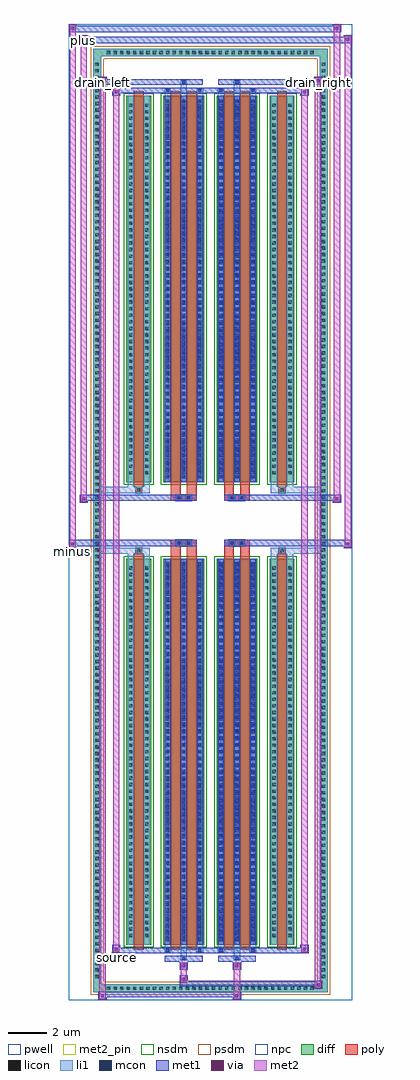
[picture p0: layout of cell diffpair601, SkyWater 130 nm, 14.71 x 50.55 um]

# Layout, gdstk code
import gdstk
lib = gdstk.Library(unit=1e-6, precision=5e-09)
def R(c, l, rs):  # rectangles x0, y0, x1, y1
    for r in rs: c.add(gdstk.rectangle(r[:2], r[2:], *l))
def A(c, l, x, y, w, h, nx, ny, dx, dy):  # array of equal rectangles
    R(c, l, [(x+i*dx, y+j*dy, x+i*dx+w, y+j*dy+h) for i in range(nx) for j in range(ny)])
def P(c, l, *ps):  # polygons
    for p in ps: c.add(gdstk.Polygon(p, *l))
pwell = (64, 44)
diff = (65, 20)
poly = (66, 20)
licon = (66, 44)
li1 = (67, 20)
mcon = (67, 44)
met1 = (68, 20)
via = (68, 44)
met2_pin = (69, 16)
met2 = (69, 20)
nsdm = (93, 44)
psdm = (94, 20)
npc = (95, 20)

diffpair601 = lib.new_cell('diffpair601')
R(diffpair601, pwell, [(-7.34,-24.84,7.34,25.71), (-4.66,-23.03,-0.01,-0.805), (0.01,-23.03,4.66,-0.805), (-4.66,0.805,-0.01,23.03), (0.01,0.805,4.66,23.03)])
A(diffpair601, diff, -5.475, -24.44, 0.41, 0.41, 32, 2, 0.34, 48.47)
A(diffpair601, diff, -6.07, -23.835, 0.41, 0.41, 1, 140, 0, 0.34)
A(diffpair601, diff, 5.66, -23.835, 0.41, 0.41, 1, 140, 0, 0.34)
R(diffpair601, diff, [(-5.475,-24.44,5.475,-24.03), (-6.07,-23.835,-5.66,23.835), (5.66,-23.835,6.07,23.835), (-4.35,-21.985,-3.07,-1.985), (-2.43,-21.985,-0.32,-1.985), (0.32,-21.985,2.43,-1.985), (3.07,-21.985,4.35,-1.985), (-4.35,1.985,-3.07,21.985), (-2.43,1.985,-0.32,21.985), (0.32,1.985,2.43,21.985), (3.07,1.985,4.35,21.985), (-5.475,24.03,5.475,24.44)])
P(diffpair601, diff, [(6.07,24.44),(-6.07,24.44),(-6.07,-24.03),(-5.66,-24.03),(-5.66,24.03),(5.66,24.03),(5.66,-24.03),(-5.66,-24.03),(-6.07,-24.03),(-6.07,-24.44),(6.07,-24.44)])
R(diffpair601, poly, [(-3.96,-22.235,-3.46,-1.735), (-2.04,-22.235,-1.54,-1.735), (-1.21,-22.235,-0.71,-1.735), (0.71,-22.235,1.21,-1.735), (1.54,-22.235,2.04,-1.735), (3.46,-22.235,3.96,-1.735), (-3.875,-1.735,-3.545,-1.405), (-3.875,-1.735,-3.545,-1.405), (-2.04,-1.735,-1.54,-1.335), (-1.21,-1.735,-0.71,-1.335), (0.71,-1.735,1.21,-1.335), (1.54,-1.735,2.04,-1.335), (3.545,-1.735,3.875,-1.405), (3.545,-1.735,3.875,-1.405), (-2.04,-1.335,-0.71,-1.005), (-1.79,-1.335,-1.46,-1.005), (-1.29,-1.335,-0.96,-1.005), (0.71,-1.335,2.04,-1.005), (0.96,-1.335,1.29,-1.005), (1.46,-1.335,1.79,-1.005), (-2.04,1.005,-0.71,1.335), (-1.79,1.005,-1.46,1.335), (-1.29,1.005,-0.96,1.335), (0.71,1.005,2.04,1.335), (0.96,1.005,1.29,1.335), (1.46,1.005,1.79,1.335), (-2.04,1.335,-1.54,1.735), (-1.21,1.335,-0.71,1.735), (0.71,1.335,1.21,1.735), (1.54,1.335,2.04,1.735), (-3.875,1.405,-3.545,1.735), (-3.875,1.405,-3.545,1.735), (3.545,1.405,3.875,1.735), (3.545,1.405,3.875,1.735), (-3.96,1.735,-3.46,22.235), (-2.04,1.735,-1.54,22.235), (-1.21,1.735,-0.71,22.235), (0.71,1.735,1.21,22.235), (1.54,1.735,2.04,22.235), (3.46,1.735,3.96,22.235)])
A(diffpair601, licon, -5.355, -24.32, 0.17, 0.17, 32, 2, 0.34, 48.47)
A(diffpair601, licon, -5.95, -23.715, 0.17, 0.17, 1, 140, 0, 0.34)
A(diffpair601, licon, 5.78, -23.715, 0.17, 0.17, 1, 140, 0, 0.34)
A(diffpair601, licon, -4.21, -21.59, 0.17, 0.17, 1, 57, 0, 0.34)
A(diffpair601, licon, -3.38, -21.59, 0.17, 0.17, 1, 57, 0, 0.34)
A(diffpair601, licon, -2.29, -21.59, 0.17, 0.17, 3, 57, 0.83, 0.34)
A(diffpair601, licon, 0.46, -21.59, 0.17, 0.17, 3, 57, 0.83, 0.34)
A(diffpair601, licon, 3.21, -21.59, 0.17, 0.17, 1, 57, 0, 0.34)
A(diffpair601, licon, 4.04, -21.59, 0.17, 0.17, 1, 57, 0, 0.34)
A(diffpair601, licon, -4.21, 2.38, 0.17, 0.17, 1, 57, 0, 0.34)
A(diffpair601, licon, -3.38, 2.38, 0.17, 0.17, 1, 57, 0, 0.34)
A(diffpair601, licon, -2.29, 2.38, 0.17, 0.17, 3, 57, 0.83, 0.34)
A(diffpair601, licon, 0.46, 2.38, 0.17, 0.17, 3, 57, 0.83, 0.34)
A(diffpair601, licon, 3.21, 2.38, 0.17, 0.17, 1, 57, 0, 0.34)
A(diffpair601, licon, 4.04, 2.38, 0.17, 0.17, 1, 57, 0, 0.34)
R(diffpair601, licon, [(-3.795,-1.655,-3.625,-1.485), (3.625,-1.655,3.795,-1.485), (-1.71,-1.255,-1.54,-1.085), (-1.21,-1.255,-1.04,-1.085), (1.04,-1.255,1.21,-1.085), (1.54,-1.255,1.71,-1.085), (-1.71,1.085,-1.54,1.255), (-1.21,1.085,-1.04,1.255), (1.04,1.085,1.21,1.255), (1.54,1.085,1.71,1.255), (-3.795,1.485,-3.625,1.655), (3.625,1.485,3.795,1.655)])
A(diffpair601, li1, -5.435, -24.4, 0.33, 0.33, 32, 2, 0.34, 48.47)
A(diffpair601, li1, -6.03, -23.795, 0.33, 0.33, 1, 140, 0, 0.34)
A(diffpair601, li1, 5.7, -23.795, 0.33, 0.33, 1, 140, 0, 0.34)
A(diffpair601, li1, -2.37, -21.985, 0.33, 20, 3, 2, 0.83, 23.97)
A(diffpair601, li1, 0.38, -21.985, 0.33, 20, 3, 2, 0.83, 23.97)
A(diffpair601, li1, -2.29, -21.79, 0.17, 0.17, 3, 55, 0.83, 0.36)
A(diffpair601, li1, -2.29, -21.79, 0.17, 19.61, 3, 2, 0.83, 23.97)
A(diffpair601, li1, 0.46, -21.79, 0.17, 0.17, 3, 55, 0.83, 0.36)
A(diffpair601, li1, 0.46, -21.79, 0.17, 19.61, 3, 2, 0.83, 23.97)
A(diffpair601, li1, -4.29, -21.67, 0.33, 0.33, 1, 57, 0, 0.34)
A(diffpair601, li1, -3.46, -21.67, 0.33, 0.33, 1, 57, 0, 0.34)
A(diffpair601, li1, -2.37, -21.67, 0.33, 0.33, 3, 57, 0.83, 0.34)
A(diffpair601, li1, 0.38, -21.67, 0.33, 0.33, 3, 57, 0.83, 0.34)
A(diffpair601, li1, 3.13, -21.67, 0.33, 0.33, 1, 57, 0, 0.34)
A(diffpair601, li1, 3.96, -21.67, 0.33, 0.33, 1, 57, 0, 0.34)
A(diffpair601, li1, -2.29, 2.18, 0.17, 0.17, 3, 55, 0.83, 0.36)
A(diffpair601, li1, 0.46, 2.18, 0.17, 0.17, 3, 55, 0.83, 0.36)
A(diffpair601, li1, -4.29, 2.3, 0.33, 0.33, 1, 57, 0, 0.34)
A(diffpair601, li1, -3.46, 2.3, 0.33, 0.33, 1, 57, 0, 0.34)
A(diffpair601, li1, -2.37, 2.3, 0.33, 0.33, 3, 57, 0.83, 0.34)
A(diffpair601, li1, 0.38, 2.3, 0.33, 0.33, 3, 57, 0.83, 0.34)
A(diffpair601, li1, 3.13, 2.3, 0.33, 0.33, 1, 57, 0, 0.34)
A(diffpair601, li1, 3.96, 2.3, 0.33, 0.33, 1, 57, 0, 0.34)
R(diffpair601, li1, [(-6.07,-24.44,-5.66,-24.03), (-6.07,-24.44,-5.66,-24.03), (-5.66,-24.44,5.66,-24.03), (5.66,-24.44,6.07,-24.03), (5.66,-24.44,6.07,-24.03), (-6.07,-24.03,-5.66,24.03), (5.66,-24.03,6.07,24.03), (-1.54,-22.79,-1.21,-21.985), (-1.46,-22.79,-1.29,-22.62), (1.21,-22.79,1.54,-21.985), (1.29,-22.79,1.46,-22.62), (-2.37,-22.36,-2.04,-21.985), (-2.29,-22.36,-2.12,-22.19), (-0.71,-22.36,-0.38,-21.985), (-0.63,-22.36,-0.46,-22.19), (0.38,-22.36,0.71,-21.985), (0.46,-22.36,0.63,-22.19), (2.04,-22.36,2.37,-21.985), (2.12,-22.36,2.29,-22.19), (-4.29,-21.985,-3.96,-1.985), (-3.46,-21.985,-3.13,-1.985), (3.13,-21.985,3.46,-1.985), (3.96,-21.985,4.29,-1.985), (-4.29,-1.985,-3.96,-1.405), (-3.46,-1.985,-3.13,-1.405), (3.13,-1.985,3.46,-1.405), (3.96,-1.985,4.29,-1.405), (-6.07,-1.735,-3.875,-1.405), (-4.29,-1.735,-3.875,-1.405), (-3.875,-1.735,-3.545,-1.405), (-3.545,-1.735,-3.13,-1.405), (3.13,-1.735,3.545,-1.405), (3.545,-1.735,3.875,-1.405), (3.545,-1.735,6.07,-1.405), (3.875,-1.735,4.29,-1.405), (-1.79,-1.335,-1.46,-1.005), (-1.29,-1.335,-0.96,-1.005), (0.96,-1.335,1.29,-1.005), (1.46,-1.335,1.79,-1.005), (-1.79,1.005,-1.46,1.335), (-1.29,1.005,-0.96,1.335), (0.96,1.005,1.29,1.335), (1.46,1.005,1.79,1.335), (-6.07,1.405,-3.875,1.735), (-4.29,1.405,-3.875,1.735), (-4.29,1.405,-3.96,1.985), (-3.875,1.405,-3.545,1.735), (-3.545,1.405,-3.13,1.735), (-3.46,1.405,-3.13,1.985), (3.13,1.405,3.545,1.735), (3.13,1.405,3.46,1.985), (3.545,1.405,3.875,1.735), (3.545,1.405,6.07,1.735), (3.875,1.405,4.29,1.735), (3.96,1.405,4.29,1.985), (-4.29,1.985,-3.96,21.985), (-3.46,1.985,-3.13,21.985), (3.13,1.985,3.46,21.985), (3.96,1.985,4.29,21.985), (-2.37,21.985,-2.04,22.36), (-1.54,21.985,-1.21,22.79), (-0.71,21.985,-0.38,22.36), (0.38,21.985,0.71,22.36), (1.21,21.985,1.54,22.79), (2.04,21.985,2.37,22.36), (-2.29,22.19,-2.12,22.36), (-0.63,22.19,-0.46,22.36), (0.46,22.19,0.63,22.36), (2.12,22.19,2.29,22.36), (-1.46,22.62,-1.29,22.79), (1.29,22.62,1.46,22.79), (-6.07,24.03,-5.66,24.44), (-6.07,24.03,-5.66,24.44), (-5.66,24.03,5.66,24.44), (5.66,24.03,6.07,24.44), (5.66,24.03,6.07,24.44)])
A(diffpair601, mcon, -2.29, -21.79, 0.17, 0.17, 3, 55, 0.83, 0.36)
A(diffpair601, mcon, 0.46, -21.79, 0.17, 0.17, 3, 55, 0.83, 0.36)
A(diffpair601, mcon, -2.29, 2.18, 0.17, 0.17, 3, 55, 0.83, 0.36)
A(diffpair601, mcon, 0.46, 2.18, 0.17, 0.17, 3, 55, 0.83, 0.36)
R(diffpair601, mcon, [(-1.46,-22.79,-1.29,-22.62), (1.29,-22.79,1.46,-22.62), (-2.29,-22.36,-2.12,-22.19), (-0.63,-22.36,-0.46,-22.19), (0.46,-22.36,0.63,-22.19), (2.12,-22.36,2.29,-22.19), (-1.71,-1.255,-1.54,-1.085), (-1.21,-1.255,-1.04,-1.085), (1.04,-1.255,1.21,-1.085), (1.54,-1.255,1.71,-1.085), (-1.71,1.085,-1.54,1.255), (-1.21,1.085,-1.04,1.255), (1.04,1.085,1.21,1.255), (1.54,1.085,1.71,1.255), (-2.29,22.19,-2.12,22.36), (-0.63,22.19,-0.46,22.36), (0.46,22.19,0.63,22.36), (2.12,22.19,2.29,22.36), (-1.46,22.62,-1.29,22.79), (1.29,22.62,1.46,22.79)])
A(diffpair601, met1, -2.35, -21.985, 0.29, 20, 3, 2, 0.83, 23.97)
A(diffpair601, met1, 0.4, -21.985, 0.29, 20, 3, 2, 0.83, 23.97)
A(diffpair601, met1, -2.35, -21.85, 0.29, 0.29, 3, 55, 0.83, 0.36)
A(diffpair601, met1, 0.4, -21.85, 0.29, 0.29, 3, 55, 0.83, 0.36)
A(diffpair601, met1, -2.35, 2.12, 0.29, 0.29, 3, 55, 0.83, 0.36)
A(diffpair601, met1, 0.4, 2.12, 0.29, 0.29, 3, 55, 0.83, 0.36)
R(diffpair601, met1, [(-5.8,-24.84,-5.37,-24.41), (1.16,-24.84,1.59,-24.41), (-5.8,-24.7,1.59,-24.41), (5.37,-24.27,5.8,-23.84), (-1.59,-24.13,5.8,-23.84), (-1.59,-23.99,-1.16,-23.56), (-1.59,-23.28,-1.16,-22.85), (1.16,-23.28,1.59,-22.85), (-2.35,-22.85,-0.4,-22.56), (-1.52,-22.85,-1.23,-22.56), (0.4,-22.85,2.35,-22.56), (1.23,-22.85,1.52,-22.56), (-5.09,-22.42,-4.66,-21.99), (-5.09,-22.42,-2.35,-22.13), (-2.35,-22.42,-2.06,-22.13), (-2.35,-22.42,-0.4,-22.13), (-0.69,-22.42,-0.4,-22.13), (-0.4,-22.42,0.4,-22.13), (0.4,-22.42,0.69,-22.13), (0.4,-22.42,2.35,-22.13), (2.06,-22.42,2.35,-22.13), (2.35,-22.42,5.09,-22.13), (4.66,-22.42,5.09,-21.99), (-7.34,-1.435,-6.91,-1.005), (6.91,-1.435,7.34,-1.005), (-7.34,-1.335,-0.71,-1.005), (-2.04,-1.335,-0.71,-1.005), (0.71,-1.335,2.04,-1.005), (0.71,-1.335,7.34,-1.005), (-1.77,-1.315,-1.48,-1.025), (-1.27,-1.315,-0.98,-1.025), (0.98,-1.315,1.27,-1.025), (1.48,-1.315,1.77,-1.025), (-6.77,0.905,-6.34,1.335), (6.34,0.905,6.77,1.335), (-6.77,1.005,-2.04,1.335), (-2.04,1.005,-0.71,1.335), (0.71,1.005,2.04,1.335), (2.04,1.005,6.77,1.335), (-1.77,1.025,-1.48,1.315), (-1.27,1.025,-0.98,1.315), (0.98,1.025,1.27,1.315), (1.48,1.025,1.77,1.315), (-5.09,21.99,-4.66,22.42), (4.66,21.99,5.09,22.42), (-5.09,22.13,-2.35,22.42), (-2.35,22.13,-2.06,22.42), (-2.35,22.13,-0.4,22.42), (-0.69,22.13,-0.4,22.42), (-0.4,22.13,0.4,22.42), (0.4,22.13,0.69,22.42), (0.4,22.13,2.35,22.42), (2.06,22.13,2.35,22.42), (2.35,22.13,5.09,22.42), (-5.8,22.56,-5.37,22.99), (-5.8,22.56,-2.35,22.85), (-2.35,22.56,-0.4,22.85), (-1.52,22.56,-1.23,22.85), (0.4,22.56,2.35,22.85), (1.23,22.56,1.52,22.85), (2.35,22.56,5.8,22.85), (5.37,22.56,5.8,22.99), (-6.77,24.71,-6.34,25.14), (-6.77,24.71,-4.66,25.04), (-4.66,24.71,4.66,25.04), (4.66,24.71,7.34,25.04), (6.91,24.71,7.34,25.14), (-7.34,25.28,-6.91,25.71), (-7.34,25.28,-4.66,25.61), (-4.66,25.28,4.66,25.61), (4.66,25.28,6.77,25.61), (6.34,25.28,6.77,25.71)])
R(diffpair601, via, [(-5.66,-24.7,-5.51,-24.55), (1.3,-24.7,1.45,-24.55), (5.51,-24.13,5.66,-23.98), (-1.45,-23.85,-1.3,-23.7), (-1.45,-23.14,-1.3,-22.99), (1.3,-23.14,1.45,-22.99), (-4.95,-22.28,-4.8,-22.13), (4.8,-22.28,4.95,-22.13), (-7.2,-1.295,-7.05,-1.145), (7.05,-1.295,7.2,-1.145), (-6.63,1.045,-6.48,1.195), (6.48,1.045,6.63,1.195), (-4.95,22.13,-4.8,22.28), (4.8,22.13,4.95,22.28), (-5.66,22.7,-5.51,22.85), (5.51,22.7,5.66,22.85), (-6.63,24.85,-6.48,25), (7.05,24.85,7.2,25), (-7.2,25.42,-7.05,25.57), (6.48,25.42,6.63,25.57)])
R(diffpair601, met2_pin, [(-5.125,-22.87,-4.625,-22.37), (-7.375,-1.885,-6.875,-1.385), (-5.835,22.44,-5.335,22.94), (5.335,22.44,5.835,22.94), (-6.805,24.59,-6.305,25.09)])
R(diffpair601, met2, [(-5.75,-24.79,-5.42,-24.46), (-5.75,-24.79,-5.42,22.94), (1.21,-24.79,1.54,-24.46), (1.21,-24.46,1.54,-23.23), (5.42,-24.22,5.75,-23.89), (5.42,-24.22,5.75,22.94), (-1.54,-23.94,-1.21,-23.61), (-1.54,-23.61,-1.21,-23.23), (-1.54,-23.23,-1.21,-22.9), (1.21,-23.23,1.54,-22.9), (-5.04,-22.37,-4.71,-22.04), (-5.04,-22.37,-4.71,22.37), (4.71,-22.37,5.04,-22.04), (4.71,-22.37,5.04,22.37), (-7.29,-1.385,-6.96,-1.055), (-7.29,-1.385,-6.96,25.66), (6.96,-1.385,7.29,-1.055), (6.96,-1.385,7.29,25.09), (-6.72,0.955,-6.39,1.285), (-6.72,0.955,-6.39,25.09), (6.39,0.955,6.72,1.285), (6.39,0.955,6.72,25.66), (-5.04,22.04,-4.71,22.37), (4.71,22.04,5.04,22.37), (-5.75,22.61,-5.42,22.94), (5.42,22.61,5.75,22.94), (-6.72,24.76,-6.39,25.09), (6.96,24.76,7.29,25.09), (-7.29,25.33,-6.96,25.66), (6.39,25.33,6.72,25.66)])
P(diffpair601, met2, [(7.29,-1.385),(7.29,-1.385),(7.29,-1.055),(7.29,-1.055)],
  [(7.29,24.76),(7.29,24.76),(7.29,25.09),(7.29,25.09)],
  [(-6.96,-1.385),(-6.96,-1.385),(-6.96,-1.055),(-6.96,-1.055)],
  [(-6.96,25.33),(-6.96,25.33),(-6.96,25.66),(-6.96,25.66)],
  [(6.72,0.955),(6.72,0.955),(6.72,1.285),(6.72,1.285)],
  [(6.72,25.33),(6.72,25.33),(6.72,25.66),(6.72,25.66)],
  [(-6.39,0.955),(-6.39,0.955),(-6.39,1.285),(-6.39,1.285)],
  [(-6.39,24.76),(-6.39,24.76),(-6.39,25.09),(-6.39,25.09)],
  [(-5.42,-24.79),(-5.42,-24.79),(-5.42,-24.46),(-5.42,-24.46)],
  [(-5.42,22.61),(-5.42,22.61),(-5.42,22.94),(-5.42,22.94)],
  [(5.75,-24.22),(5.75,-24.22),(5.75,-23.89),(5.75,-23.89)],
  [(5.75,22.61),(5.75,22.61),(5.75,22.94),(5.75,22.94)],
  [(-4.71,-22.37),(-4.71,-22.37),(-4.71,-22.04),(-4.71,-22.04)],
  [(-4.71,22.04),(-4.71,22.04),(-4.71,22.37),(-4.71,22.37)],
  [(5.04,-22.37),(5.04,-22.37),(5.04,-22.04),(5.04,-22.04)],
  [(5.04,22.04),(5.04,22.04),(5.04,22.37),(5.04,22.37)])
R(diffpair601, nsdm, [(-4.48,-22.115,-2.94,-1.855), (-2.56,-22.115,-0.19,-1.855), (0.19,-22.115,2.56,-1.855), (2.94,-22.115,4.48,-1.855), (-4.48,1.855,-2.94,22.115), (-2.56,1.855,-0.19,22.115), (0.19,1.855,2.56,22.115), (2.94,1.855,4.48,22.115)])
P(diffpair601, psdm, [(6.2,24.57),(-6.2,24.57),(-6.2,-23.9),(-5.53,-23.9),(-5.53,23.9),(5.53,23.9),(5.53,-23.9),(-5.53,-23.9),(-6.2,-23.9),(-6.2,-24.57),(6.2,-24.57)])
R(diffpair601, npc, [(-3.895,-1.755,-3.525,-1.385), (3.525,-1.755,3.895,-1.385), (-1.81,-1.355,-1.44,-0.985), (-1.81,-1.355,-0.94,-0.985), (-1.81,-1.355,-0.94,-0.985), (-1.31,-1.355,-0.94,-0.985), (0.94,-1.355,1.31,-0.985), (0.94,-1.355,1.81,-0.985), (0.94,-1.355,1.81,-0.985), (1.44,-1.355,1.81,-0.985), (-1.81,0.985,-1.44,1.355), (-1.81,0.985,-0.94,1.355), (-1.81,0.985,-0.94,1.355), (-1.31,0.985,-0.94,1.355), (0.94,0.985,1.31,1.355), (0.94,0.985,1.81,1.355), (0.94,0.985,1.81,1.355), (1.44,0.985,1.81,1.355), (-3.895,1.385,-3.525,1.755), (3.525,1.385,3.895,1.755)])
diffpair601.add(gdstk.Label('minus', (-7.125,-1.635), layer=69, texttype=5))
diffpair601.add(gdstk.Label('drain_right', (5.585,22.69), layer=69, texttype=5))
diffpair601.add(gdstk.Label('drain_left', (-5.585,22.69), layer=69, texttype=5))
diffpair601.add(gdstk.Label('source', (-4.875,-22.62), layer=69, texttype=5))
diffpair601.add(gdstk.Label('plus', (-6.555,24.84), layer=69, texttype=5))

lib.write_gds('diffpair601.gds')
